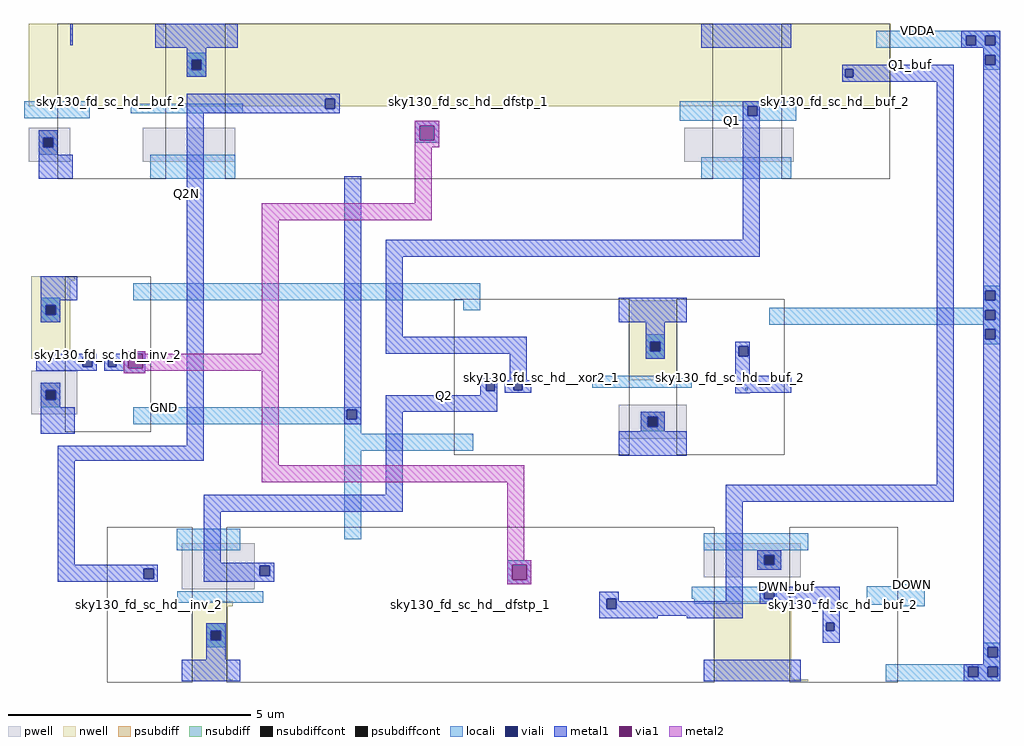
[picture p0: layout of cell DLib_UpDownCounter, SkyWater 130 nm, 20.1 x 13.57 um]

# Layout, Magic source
magic
tech sky130A
magscale 1 2
<< nwell >>
rect -860 -780 2690 -440
rect -850 -1500 -670 -1480
rect -850 -1810 -690 -1500
rect -850 -1820 -680 -1810
rect 1610 -1910 1810 -1580
rect -190 -2840 -20 -2820
rect 1960 -2830 2320 -2820
rect -190 -3140 -40 -2840
rect 1960 -3140 2280 -2830
rect -190 -3150 -20 -3140
rect 1960 -3150 2350 -3140
<< pwell >>
rect -860 -1010 -690 -870
rect -390 -1010 -10 -870
rect 1840 -1010 2290 -870
rect -850 -2050 -660 -1870
rect 1570 -2150 1850 -2010
rect -230 -2770 70 -2580
rect 1920 -2720 2320 -2580
<< psubdiff >>
rect -820 -910 -740 -880
rect -820 -950 -800 -910
rect -760 -950 -740 -910
rect -820 -980 -740 -950
rect -810 -1950 -730 -1920
rect -810 -1990 -790 -1950
rect -750 -1990 -730 -1950
rect -810 -2020 -730 -1990
rect 1660 -2060 1760 -2040
rect 1660 -2100 1690 -2060
rect 1730 -2100 1760 -2060
rect 1660 -2120 1760 -2100
rect 2140 -2630 2240 -2610
rect 2140 -2670 2170 -2630
rect 2210 -2670 2240 -2630
rect 2140 -2690 2240 -2670
<< nsubdiff >>
rect -210 -590 -130 -560
rect -210 -630 -190 -590
rect -150 -630 -130 -590
rect -210 -660 -130 -630
rect -810 -1600 -730 -1570
rect -810 -1640 -790 -1600
rect -750 -1640 -730 -1600
rect -810 -1670 -730 -1640
rect 1680 -1750 1760 -1720
rect 1680 -1790 1700 -1750
rect 1740 -1790 1760 -1750
rect 1680 -1820 1760 -1790
rect -130 -2940 -50 -2910
rect -130 -2980 -110 -2940
rect -70 -2980 -50 -2940
rect -130 -3010 -50 -2980
<< psubdiffcont >>
rect -800 -950 -760 -910
rect -790 -1990 -750 -1950
rect 1690 -2100 1730 -2060
rect 2170 -2670 2210 -2630
<< nsubdiffcont >>
rect -190 -630 -150 -590
rect -790 -1640 -750 -1600
rect 1700 -1790 1740 -1750
rect -110 -2980 -70 -2940
<< locali >>
rect 2630 -490 3140 -470
rect 2630 -530 3000 -490
rect 3040 -530 3080 -490
rect 3120 -530 3140 -490
rect 2630 -540 3140 -530
rect -210 -590 -130 -560
rect -210 -630 -190 -590
rect -150 -630 -130 -590
rect 3070 -570 3140 -540
rect 3070 -610 3080 -570
rect 3120 -610 3140 -570
rect -210 -660 -130 -630
rect 3070 -630 3140 -610
rect -880 -830 -610 -760
rect -440 -810 20 -770
rect 1820 -780 2300 -760
rect 1820 -820 2100 -780
rect 2140 -820 2300 -780
rect 1820 -840 2300 -820
rect -820 -910 -740 -880
rect -820 -950 -800 -910
rect -760 -950 -740 -910
rect -820 -980 -740 -950
rect -360 -1080 -10 -980
rect 1910 -1080 2280 -990
rect -810 -1600 -730 -1570
rect -430 -1580 1000 -1510
rect -810 -1640 -790 -1600
rect -750 -1640 -730 -1600
rect 930 -1620 1000 -1580
rect 3070 -1540 3140 -1520
rect 3070 -1580 3080 -1540
rect 3120 -1580 3140 -1540
rect 3070 -1610 3140 -1580
rect 2190 -1620 3140 -1610
rect -810 -1670 -730 -1640
rect 2190 -1660 3080 -1620
rect 3120 -1660 3140 -1620
rect 2190 -1680 3140 -1660
rect 3070 -1700 3140 -1680
rect 1680 -1750 1760 -1720
rect 1680 -1790 1700 -1750
rect 1740 -1790 1760 -1750
rect 3070 -1740 3080 -1700
rect 3120 -1740 3140 -1700
rect 3070 -1760 3140 -1740
rect 1680 -1820 1760 -1790
rect 1460 -1900 1800 -1890
rect -810 -1950 -730 -1920
rect -810 -1990 -790 -1950
rect -750 -1990 -730 -1950
rect 1460 -1940 1870 -1900
rect 2090 -1950 2100 -1940
rect -810 -2020 -730 -1990
rect -430 -2030 510 -2020
rect -430 -2070 450 -2030
rect 490 -2070 510 -2030
rect -430 -2090 510 -2070
rect 440 -2130 510 -2090
rect 1660 -2060 1760 -2040
rect 1660 -2100 1690 -2060
rect 1730 -2100 1760 -2060
rect 1660 -2120 1760 -2100
rect 440 -2200 970 -2130
rect -250 -2610 10 -2520
rect 440 -2565 510 -2200
rect 1920 -2610 2350 -2540
rect 2140 -2630 2240 -2610
rect 2140 -2670 2170 -2630
rect 2210 -2670 2240 -2630
rect 2140 -2690 2240 -2670
rect 2720 -2758 2830 -2750
rect 1870 -2770 2220 -2760
rect -248 -2826 106 -2778
rect 1870 -2810 2170 -2770
rect 2210 -2810 2220 -2770
rect 1880 -2830 2220 -2810
rect 2592 -2834 2830 -2758
rect 2720 -2840 2830 -2834
rect -130 -2940 -50 -2910
rect -130 -2980 -110 -2940
rect -70 -2980 -50 -2940
rect -130 -3010 -50 -2980
rect 3070 -3010 3140 -2990
rect 3070 -3050 3090 -3010
rect 3130 -3050 3140 -3010
rect 3070 -3080 3140 -3050
rect 2670 -3090 3140 -3080
rect 2670 -3130 3010 -3090
rect 3050 -3130 3090 -3090
rect 3130 -3130 3140 -3090
rect 2670 -3150 3140 -3130
<< viali >>
rect 3000 -530 3040 -490
rect 3080 -530 3120 -490
rect -190 -630 -150 -590
rect 3080 -610 3120 -570
rect 2502 -662 2536 -628
rect 360 -790 400 -750
rect 2100 -820 2140 -780
rect -800 -950 -760 -910
rect -790 -1640 -750 -1600
rect 3080 -1580 3120 -1540
rect 3080 -1660 3120 -1620
rect 1700 -1790 1740 -1750
rect 3080 -1740 3120 -1700
rect -638 -1854 -598 -1814
rect 2064 -1810 2104 -1770
rect -534 -1854 -500 -1820
rect -790 -1990 -750 -1950
rect 1024 -1952 1058 -1918
rect 1138 -1950 1172 -1916
rect 450 -2070 490 -2030
rect 1690 -2100 1730 -2060
rect 2170 -2670 2210 -2630
rect -386 -2726 -346 -2686
rect 92 -2714 132 -2674
rect 2170 -2810 2210 -2770
rect 1520 -2850 1560 -2810
rect -110 -2980 -70 -2940
rect 2424 -2942 2458 -2908
rect 3090 -3050 3130 -3010
rect 3010 -3130 3050 -3090
rect 3090 -3130 3130 -3090
<< metal1 >>
rect -690 -530 -680 -440
rect -340 -540 0 -440
rect 1910 -540 2280 -440
rect 2980 -490 3140 -470
rect 2980 -530 3000 -490
rect 3040 -530 3080 -490
rect 3120 -530 3140 -490
rect 2980 -540 3140 -530
rect -210 -590 -130 -540
rect -210 -630 -190 -590
rect -150 -630 -130 -590
rect 3070 -570 3140 -540
rect 3070 -610 3080 -570
rect 3120 -610 3140 -570
rect -210 -660 -130 -630
rect 2490 -628 2950 -610
rect 2490 -662 2502 -628
rect 2536 -662 2950 -628
rect 2490 -680 2950 -662
rect -210 -750 420 -730
rect -210 -790 360 -750
rect 400 -790 420 -750
rect -210 -810 420 -790
rect 2080 -780 2150 -760
rect -820 -910 -740 -880
rect -820 -950 -800 -910
rect -760 -950 -740 -910
rect -820 -980 -740 -950
rect -820 -1080 -680 -980
rect -810 -1580 -660 -1480
rect -810 -1600 -730 -1580
rect -810 -1640 -790 -1600
rect -750 -1640 -730 -1600
rect -810 -1670 -730 -1640
rect -470 -1800 -380 -1790
rect -830 -1814 -580 -1800
rect -830 -1854 -638 -1814
rect -598 -1854 -580 -1814
rect -830 -1870 -580 -1854
rect -550 -1820 -450 -1800
rect -550 -1854 -534 -1820
rect -500 -1854 -450 -1820
rect -550 -1860 -450 -1854
rect -390 -1860 -380 -1800
rect -550 -1870 -380 -1860
rect -470 -1880 -380 -1870
rect -810 -1950 -730 -1920
rect -810 -1990 -790 -1950
rect -750 -1990 -730 -1950
rect -810 -2020 -730 -1990
rect -810 -2130 -670 -2020
rect -210 -2180 -140 -810
rect 2080 -820 2100 -780
rect 2140 -820 2150 -780
rect 730 -860 830 -840
rect 730 -920 750 -860
rect 810 -920 830 -860
rect 730 -930 830 -920
rect 440 -2030 510 -1070
rect 2080 -1330 2150 -820
rect 610 -1400 2150 -1330
rect 610 -1730 680 -1400
rect 1570 -1670 1850 -1570
rect 610 -1800 1190 -1730
rect 1000 -1918 1070 -1900
rect 1120 -1910 1190 -1800
rect 1680 -1750 1760 -1670
rect 1680 -1790 1700 -1750
rect 1740 -1790 1760 -1750
rect 1680 -1820 1760 -1790
rect 2050 -1770 2110 -1750
rect 2050 -1810 2064 -1770
rect 2104 -1810 2110 -1770
rect 2050 -1890 2110 -1810
rect 1000 -1952 1024 -1918
rect 1058 -1952 1070 -1918
rect 1000 -1970 1070 -1952
rect 1100 -1916 1210 -1910
rect 1100 -1950 1138 -1916
rect 1172 -1950 1210 -1916
rect 1100 -1960 1210 -1950
rect 2050 -1960 2280 -1890
rect 2050 -1962 2110 -1960
rect 440 -2070 450 -2030
rect 490 -2070 510 -2030
rect 440 -2090 510 -2070
rect 610 -2040 1070 -1970
rect -740 -2240 -140 -2180
rect -740 -2670 -670 -2240
rect 610 -2380 680 -2040
rect 1660 -2060 1760 -2040
rect 1660 -2100 1690 -2060
rect 1730 -2100 1760 -2060
rect 1660 -2120 1760 -2100
rect 1570 -2220 1850 -2120
rect 2880 -2340 2950 -680
rect -140 -2450 680 -2380
rect 2010 -2410 2950 -2340
rect 3070 -1540 3140 -610
rect 3070 -1580 3080 -1540
rect 3120 -1580 3140 -1540
rect 3070 -1620 3140 -1580
rect 3070 -1660 3080 -1620
rect 3120 -1660 3140 -1620
rect 3070 -1700 3140 -1660
rect 3070 -1740 3080 -1700
rect 3120 -1740 3140 -1700
rect -140 -2660 -70 -2450
rect -740 -2686 -330 -2670
rect -740 -2726 -386 -2686
rect -346 -2726 -330 -2686
rect -740 -2740 -330 -2726
rect -140 -2674 150 -2660
rect -140 -2714 92 -2674
rect 132 -2714 150 -2674
rect -140 -2740 150 -2714
rect 1110 -2670 1210 -2650
rect 1110 -2730 1130 -2670
rect 1190 -2730 1210 -2670
rect 1110 -2750 1210 -2730
rect 1490 -2810 1570 -2780
rect 1490 -2850 1520 -2810
rect 1560 -2820 1570 -2810
rect 2010 -2820 2080 -2410
rect 2140 -2630 2240 -2610
rect 2140 -2670 2170 -2630
rect 2210 -2670 2240 -2630
rect 2140 -2690 2240 -2670
rect 1560 -2850 2080 -2820
rect 2150 -2770 2480 -2760
rect 2150 -2810 2170 -2770
rect 2210 -2810 2480 -2770
rect 2150 -2830 2480 -2810
rect 1490 -2880 2080 -2850
rect 1490 -2890 1730 -2880
rect 1850 -2890 2080 -2880
rect 2410 -2908 2480 -2830
rect -130 -2940 -50 -2910
rect -130 -2980 -110 -2940
rect -70 -2980 -50 -2940
rect -130 -3060 -50 -2980
rect 2410 -2942 2424 -2908
rect 2458 -2942 2480 -2908
rect 2410 -2990 2480 -2942
rect 3070 -3010 3140 -1740
rect 3070 -3050 3090 -3010
rect 3130 -3050 3140 -3010
rect -230 -3150 10 -3060
rect 1920 -3150 2320 -3060
rect 3070 -3080 3140 -3050
rect 2990 -3090 3140 -3080
rect 2990 -3130 3010 -3090
rect 3050 -3130 3090 -3090
rect 3130 -3130 3140 -3090
rect 2990 -3150 3140 -3130
<< via1 >>
rect -450 -1860 -390 -1800
rect 750 -920 810 -860
rect 1130 -2730 1190 -2670
<< metal2 >>
rect 730 -860 830 -840
rect 730 -920 750 -860
rect 810 -920 830 -860
rect 730 -950 830 -920
rect 730 -1180 800 -950
rect 100 -1250 800 -1180
rect -470 -1800 -380 -1790
rect 100 -1800 170 -1250
rect -470 -1860 -450 -1800
rect -390 -1860 170 -1800
rect -470 -1870 170 -1860
rect -470 -1880 -380 -1870
rect 100 -2260 170 -1870
rect 100 -2330 1180 -2260
rect 1110 -2650 1180 -2330
rect 1110 -2670 1210 -2650
rect 1110 -2730 1130 -2670
rect 1190 -2730 1210 -2670
rect 1110 -2750 1210 -2730
use sky130_fd_sc_hd__buf_2  sky130_fd_sc_hd__buf_2_1 $PDKPATH/libs.ref/sky130_fd_sc_hd/mag
transform -1 0 2680 0 -1 -2562
box -38 -48 406 592
use sky130_fd_sc_hd__buf_2  sky130_fd_sc_hd__buf_2_2
transform 1 0 1846 0 1 -2168
box -38 -48 406 592
use sky130_fd_sc_hd__buf_2  sky130_fd_sc_hd__buf_2_3
transform 1 0 2280 0 1 -1032
box -38 -48 406 592
use sky130_fd_sc_hd__buf_2  sky130_fd_sc_hd__buf_2_4
transform 1 0 -702 0 1 -1032
box -38 -48 406 592
use sky130_fd_sc_hd__dfstp_1  sky130_fd_sc_hd__dfstp_1_0 $PDKPATH/libs.ref/sky130_fd_sc_hd/mag
transform 1 0 -14 0 1 -1032
box -38 -48 1970 592
use sky130_fd_sc_hd__dfstp_1  sky130_fd_sc_hd__dfstp_1_1
transform -1 0 1926 0 -1 -2562
box -38 -48 1970 592
use sky130_fd_sc_hd__inv_2  sky130_fd_sc_hd__inv_2_0 $PDKPATH/libs.ref/sky130_fd_sc_hd/mag
transform 1 0 -672 0 1 -2074
box -38 -48 314 592
use sky130_fd_sc_hd__inv_2  sky130_fd_sc_hd__inv_2_1
transform -1 0 -224 0 -1 -2562
box -38 -48 314 592
use sky130_fd_sc_hd__xor2_1  sky130_fd_sc_hd__xor2_1_1 $PDKPATH/libs.ref/sky130_fd_sc_hd/mag
transform 1 0 930 0 1 -2168
box -38 -48 682 592
<< labels >>
rlabel metal1 2770 -610 2770 -610 1 Q1_buf
rlabel locali 2040 -840 2040 -840 5 Q1
rlabel locali 1620 -1940 1620 -1940 5 Dout
rlabel metal1 850 -1970 850 -1970 1 Q2
rlabel metal1 -210 -1140 -210 -1140 7 Q2N
rlabel metal2 -330 -1800 -330 -1800 1 SetBi
rlabel locali -280 -810 -280 -810 5 UP_buf
rlabel locali -770 -760 -770 -760 1 UP
port 1 n
rlabel metal1 2260 -2760 2260 -2760 1 DWN_buf
rlabel metal1 -770 -1800 -770 -1800 1 setB
port 3 n
rlabel locali -300 -2020 -300 -2020 1 GND
port 6 n
rlabel locali 2780 -2750 2780 -2750 1 DOWN
port 2 n
rlabel metal1 2270 -1890 2270 -1890 1 Dout_buf
port 4 n
rlabel locali 2800 -470 2800 -470 1 VDDA
port 5 n
<< end >>
